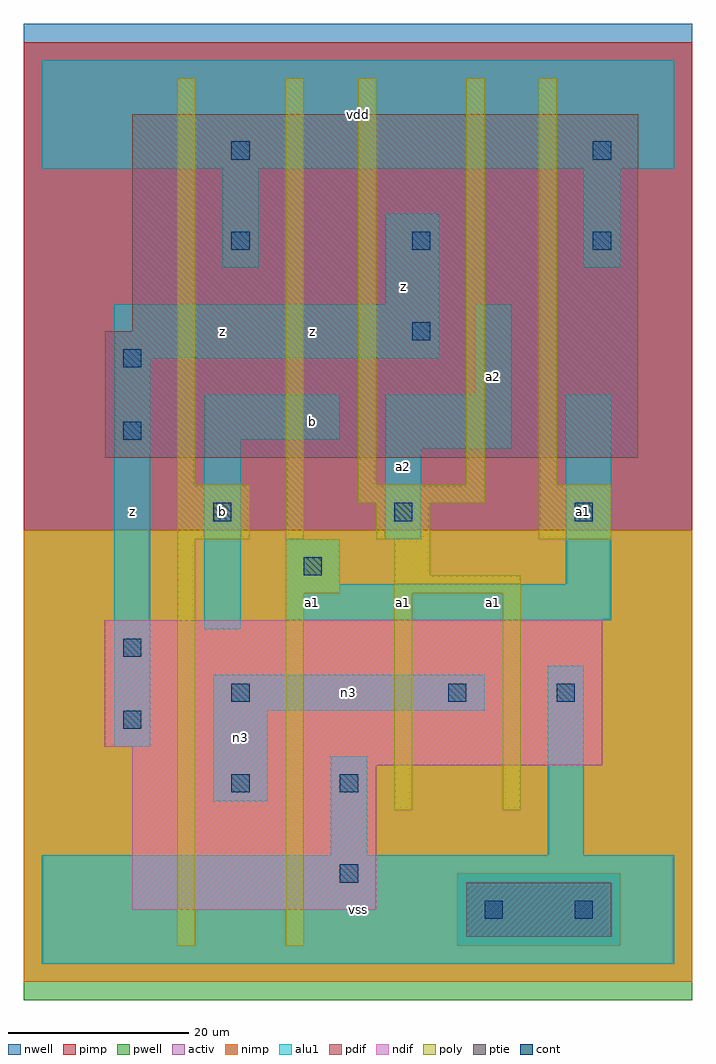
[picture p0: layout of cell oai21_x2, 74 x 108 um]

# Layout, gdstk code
import gdstk
lib = gdstk.Library(unit=1e-6, precision=1e-09)
def R(c, l, rs):  # rectangles x0, y0, x1, y1
    for r in rs: c.add(gdstk.rectangle(r[:2], r[2:], *l))
def A(c, l, x, y, w, h, nx, ny, dx, dy):  # array of equal rectangles
    R(c, l, [(x+i*dx, y+j*dy, x+i*dx+w, y+j*dy+h) for i in range(nx) for j in range(ny)])
ndif = (3, 0)
pdif = (4, 0)
ptie = (6, 0)
cont = (25, 0)
pwell = (41, 0)
nwell = (42, 0)
activ = (43, 0)
pimp = (44, 0)
nimp = (45, 0)
poly = (46, 0)
alu1 = (49, 0)

oai21_x2 = lib.new_cell('oai21_x2')
R(oai21_x2, ndif, [(10,6,37,22), (10,22,62,24), (7,24,62,38)])
R(oai21_x2, pdif, [(7,56,66,70), (10,70,66,94)])
R(oai21_x2, ptie, [(47,3,63,9)])
A(oai21_x2, cont, 19, 49, 2, 2, 3, 1, 20, 0)
A(oai21_x2, cont, 21, 79, 2, 2, 3, 1, 20, 0)
R(oai21_x2, cont, [(49,5,51,7), (59,5,61,7), (33,9,35,11), (21,19,23,21), (33,19,35,21), (9,26,11,28), (21,29,23,31), (45,29,47,31), (57,29,59,31), (9,34,11,36), (29,43,31,45), (9,58,11,60), (9,66,11,68), (41,69,43,71), (21,89,23,91), (61,89,63,91)])
R(oai21_x2, pwell, [(-2,-4,72,48)])
R(oai21_x2, nwell, [(-2,48,72,104)])
R(oai21_x2, activ, [(47,3,63,9), (10,6,37,22), (10,22,62,24), (7,24,62,38), (7,56,66,70), (10,70,66,94)])
R(oai21_x2, pimp, [(46,2,64,10), (-2,48,72,102)])
R(oai21_x2, nimp, [(-2,-2,72,2), (-2,2,46,10), (64,2,72,10), (-2,10,72,48)])
R(oai21_x2, poly, [(15,2,17,47), (27,2,29,41), (39,17,41,41), (51,17,53,41), (27,41,33,47), (39,41,53,43), (39,43,43,47), (15,47,23,53), (27,47,29,98), (37,47,43,51), (55,47,63,53), (35,51,49,53), (15,53,17,98), (35,53,37,98), (47,53,49,98), (55,53,57,98)])
R(oai21_x2, alu1, [(0,0,70,12), (32,12,36,23), (56,12,60,33), (19,18,25,28), (8,24,12,67), (19,28,49,32), (18,37,22,58), (27,38,63,42), (27,42,33,47), (58,42,63,63), (38,47,42,57), (38,57,52,63), (18,58,33,63), (48,63,52,73), (8,67,44,73), (38,73,44,83), (20,77,24,88), (60,77,64,88), (0,88,70,100)])
oai21_x2.add(gdstk.Label('n3', (22,25), layer=49, texttype=0))
oai21_x2.add(gdstk.Label('z', (10,50), layer=49, texttype=0))
oai21_x2.add(gdstk.Label('b', (20,50), layer=49, texttype=0))
oai21_x2.add(gdstk.Label('z', (20,70), layer=49, texttype=0))
oai21_x2.add(gdstk.Label('vss', (35,6), layer=49, texttype=0))
oai21_x2.add(gdstk.Label('a1', (30,40), layer=49, texttype=0))
oai21_x2.add(gdstk.Label('b', (30,60), layer=49, texttype=0))
oai21_x2.add(gdstk.Label('z', (30,70), layer=49, texttype=0))
oai21_x2.add(gdstk.Label('vdd', (35,94), layer=49, texttype=0))
oai21_x2.add(gdstk.Label('n3', (34,30), layer=49, texttype=0))
oai21_x2.add(gdstk.Label('a1', (50,40), layer=49, texttype=0))
oai21_x2.add(gdstk.Label('a1', (40,40), layer=49, texttype=0))
oai21_x2.add(gdstk.Label('a2', (40,55), layer=49, texttype=0))
oai21_x2.add(gdstk.Label('z', (40,75), layer=49, texttype=0))
oai21_x2.add(gdstk.Label('a2', (50,65), layer=49, texttype=0))
oai21_x2.add(gdstk.Label('a1', (60,50), layer=49, texttype=0))

lib.write_gds('oai21_x2.gds')
